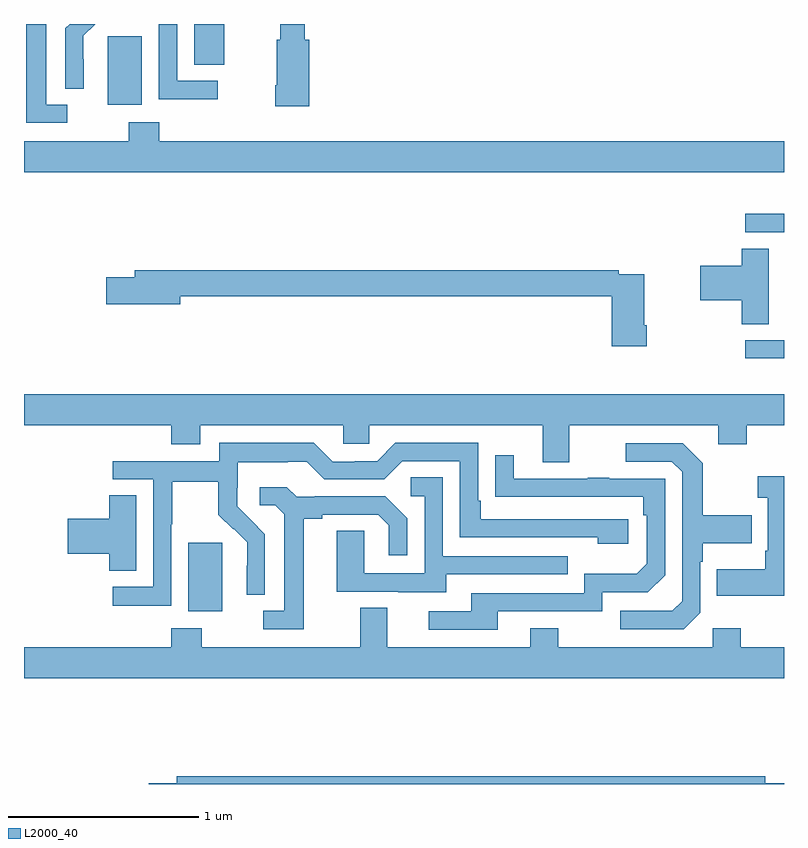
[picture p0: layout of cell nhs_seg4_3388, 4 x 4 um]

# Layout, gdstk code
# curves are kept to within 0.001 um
import gdstk
lib = gdstk.Library(unit=1e-6, precision=1e-09)
def R(c, l, rs):  # rectangles x0, y0, x1, y1
    for r in rs: c.add(gdstk.rectangle(r[:2], r[2:], *l))
def P(c, l, *ps):  # polygons
    for p in ps: c.add(gdstk.Polygon(p, *l))
L2000_40 = (2000, 40)

nhs_seg4_3388 = lib.new_cell('nhs_seg4_3388')
R(nhs_seg4_3388, L2000_40, [(289.865,827.81,290.044,828.171), (292.797,829.14,293,829.236), (292.797,829.803,293,829.902), (289.442,830.474,289.621,830.835), (289.895,830.686,290.053,830.9)])
P(nhs_seg4_3388, L2000_40, [(289.228,830.475),(289.117,830.475),(289.117,830.9),(289.013,830.9),(289.013,830.379),(289.228,830.379)],
  [(290.501,830.818),(290.477,830.818),(290.477,830.9),(290.349,830.9),(290.349,830.818),(290.33,830.818),(290.33,830.578),(290.323,830.578),(290.323,830.466),(290.501,830.466)],
  [(289.314,830.714),(289.313,830.714),(289.313,830.837),(289.376,830.9),(289.24,830.9),(289.218,830.878),(289.218,830.56),(289.314,830.56)],
  [(290.02,830.601),(289.806,830.601),(289.806,830.9),(289.71,830.9),(289.71,830.503),(290.02,830.503)],
  [(293,830.284),(289.712,830.284),(289.712,830.383),(289.552,830.383),(289.552,830.284),(289,830.284),(289,830.12),(293,830.12)],
  [(292.921,829.718),(292.778,829.718),(292.778,829.628),(292.56,829.628),(292.56,829.445),(292.778,829.445),(292.778,829.321),(292.921,829.321)],
  [(292.277,829.315),(292.264,829.315),(292.264,829.584),(292.13,829.584),(292.13,829.604),(289.583,829.604),(289.583,829.568),(289.434,829.568),(289.434,829.426),(289.822,829.426),(289.822,829.468),(292.094,829.468),(292.094,829.203),(292.277,829.203)],
  [(289,828.788),(289.775,828.788),(289.775,828.689),(289.927,828.689),(289.927,828.788),(290.679,828.788),(290.679,828.69),(290.817,828.69),(290.817,828.788),(291.731,828.788),(291.731,828.594),(291.871,828.594),(291.871,828.788),(292.655,828.788),(292.655,828.689),(292.803,828.689),(292.803,828.788),(293,828.788),(293,828.952),(289,828.952)],
  [(289.776,828.268),(289.779,828.268),(289.779,828.492),(290.023,828.492),(290.023,828.317),(290.1,828.24),(290.103,828.243),(290.174,828.173),(290.174,828.05),(290.172,828.05),(290.172,827.896),(290.268,827.896),(290.268,828.214),(290.122,828.362),(290.122,828.459),(290.124,828.459),(290.124,828.593),(290.387,828.593),(290.387,828.597),(290.487,828.597),(290.58,828.504),(290.895,828.504),(290.991,828.6),(291.294,828.6),(291.294,828.198),(292.019,828.198),(292.019,828.164),(292.18,828.164),(292.18,828.294),(291.403,828.294),(291.403,828.391),(291.39,828.391),(291.39,828.696),(290.955,828.696),(290.859,828.6),(290.741,828.6),(290.741,828.597),(290.625,828.597),(290.525,828.697),(290.028,828.697),(290.028,828.6),(289.467,828.6),(289.467,828.504),(289.68,828.504),(289.68,827.937),(289.467,827.937),(289.467,827.839),(289.776,827.839)],
  [(292.56,827.802),(292.56,828.071),(292.573,828.071),(292.573,828.167),(292.829,828.167),(292.829,828.315),(292.573,828.315),(292.573,828.587),(292.467,828.693),(292.167,828.693),(292.167,828.597),(292.41,828.597),(292.464,828.543),(292.464,827.862),(292.413,827.811),(292.137,827.811),(292.137,827.715),(292.473,827.715)],
  [(291.493,827.808),(292.044,827.808),(292.044,827.91),(292.284,827.91),(292.374,828),(292.374,828.507),(292.079,828.507),(292.079,828.512),(291.967,828.512),(291.967,828.507),(291.577,828.507),(291.577,828.631),(291.481,828.631),(291.481,828.412),(292.258,828.411),(292.258,828.314),(292.278,828.314),(292.278,828.06),(292.225,828.007),(291.948,828.007),(291.948,827.904),(291.353,827.904),(291.353,827.808),(291.129,827.808),(291.129,827.712),(291.493,827.712)],
  [(293,828.52),(292.863,828.52),(292.863,828.407),(292.914,828.407),(292.914,828.127),(292.902,828.127),(292.902,828.031),(292.645,828.031),(292.645,827.891),(293,827.891)],
  [(291.223,828.003),(291.863,828.003),(291.863,828.099),(291.204,828.099),(291.204,828.515),(291.036,828.515),(291.036,828.414),(291.108,828.414),(291.108,828.009),(290.79,828.009),(290.79,828.233),(290.645,828.233),(290.645,827.913),(290.969,827.913),(290.969,827.909),(291.223,827.909)],
  [(290.473,828.296),(290.569,828.296),(290.569,828.318),(290.864,828.318),(290.921,828.261),(290.921,828.105),(291.018,828.105),(291.018,828.298),(290.902,828.414),(290.53,828.414),(290.53,828.411),(290.436,828.411),(290.384,828.463),(290.241,828.463),(290.241,828.366),(290.322,828.366),(290.369,828.319),(290.369,827.811),(290.259,827.811),(290.259,827.715),(290.473,827.715)],
  [(289.591,828.419),(289.448,828.419),(289.448,828.296),(289.23,828.296),(289.23,828.113),(289.448,828.113),(289.448,828.022),(289.591,828.022)],
  [(293,827.62),(292.773,827.62),(292.773,827.719),(292.626,827.719),(292.626,827.62),(291.813,827.62),(291.813,827.719),(291.665,827.719),(291.665,827.62),(290.911,827.62),(290.911,827.828),(290.771,827.828),(290.771,827.62),(289.935,827.62),(289.935,827.719),(289.775,827.719),(289.775,827.62),(289,827.62),(289,827.456),(293,827.456)],
  [(293,826.904),(292.9,826.904),(292.9,826.94),(289.805,826.94),(289.805,826.904),(289.656,826.904),(289.656,826.9),(293,826.9)])

lib.write_gds('nhs_seg4_3388.gds')
